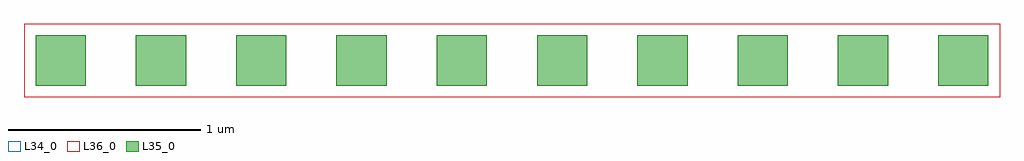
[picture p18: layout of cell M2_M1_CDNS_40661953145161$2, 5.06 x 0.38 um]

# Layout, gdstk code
import gdstk
lib = gdstk.Library(unit=1e-6, precision=1e-09)
def R(c, l, rs):  # rectangles x0, y0, x1, y1
    for r in rs: c.add(gdstk.rectangle(r[:2], r[2:], *l))
def A(c, l, x, y, w, h, nx, ny, dx, dy):  # array of equal rectangles
    R(c, l, [(x+i*dx, y+j*dy, x+i*dx+w, y+j*dy+h) for i in range(nx) for j in range(ny)])
L34_0 = (34, 0)
L35_0 = (35, 0)
L36_0 = (36, 0)

m2_m1_cdns_4066195314516 = lib.new_cell('M2_M1_CDNS_40661953145161$2')
R(m2_m1_cdns_4066195314516, L34_0, [(-2.53,-0.19,2.53,0.19)])
A(m2_m1_cdns_4066195314516, L35_0, -2.47, -0.13, 0.26, 0.26, 10, 1, 0.52, 0)
R(m2_m1_cdns_4066195314516, L36_0, [(-2.53,-0.19,2.53,0.19)])

lib.write_gds('M2_M1_CDNS_40661953145161_2.gds')
